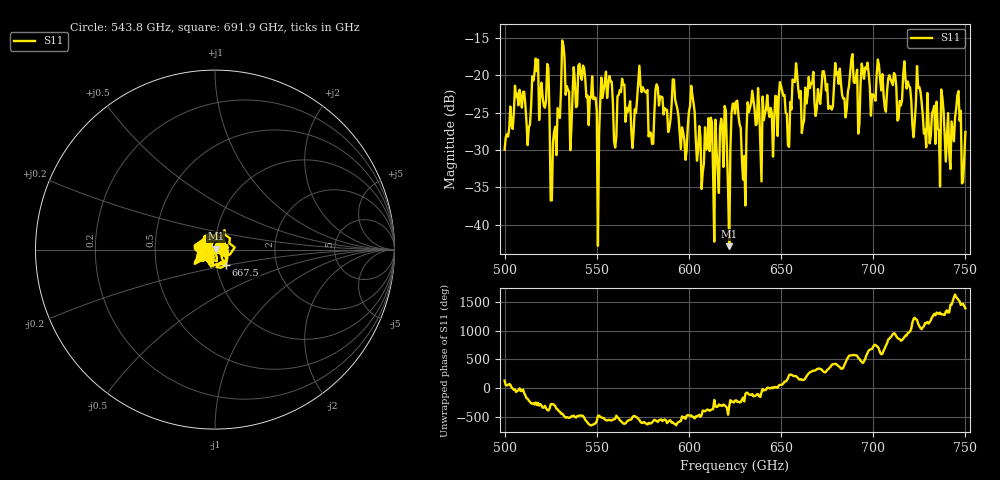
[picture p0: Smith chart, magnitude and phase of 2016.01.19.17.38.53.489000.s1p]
!Created with skrf (http://scikit-rf.org).
# GHz S RI R 50.0
!freq ReS11 ImS11
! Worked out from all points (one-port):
!   401 points, 500 GHz to 750 GHz, reference 50 ohm
!   lowest |S11| = -42.8 dB at 621.9 GHz (marker M1), VSWR 1.01, Z = 50.4 + j0.584 ohm
!   |S11| at or under -10 dB: start of sweep to end of sweep
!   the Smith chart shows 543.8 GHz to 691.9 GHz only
!   S11 on the Smith chart (normalised r, x): 543.8 GHz: 0.83, +0.02; 667.5 GHz: 1.12, -0.19; 691.9 GHz: 0.92, +0.01
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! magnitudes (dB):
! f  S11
! 500 GHz  -30.0
! 506.9 GHz  -22.5
! 513.1 GHz  -27.0
! 516.9 GHz  -17.8
! 523.1 GHz  -18.5
! 526.2 GHz  -28.9
! 531.2 GHz  -15.4
! 535.6 GHz  -30.0
! 543.8 GHz  -20.5
! 550.6 GHz  -42.8
! 553.8 GHz  -22.0
! 560 GHz  -29.7
! 562.5 GHz  -22.0
! 593.8 GHz  -24.5
! 598.1 GHz  -31.3
! 601.9 GHz  -22.7
! 615 GHz  -30.2
! 618.8 GHz  -32.3
! 621.9 GHz  -42.8
! 625 GHz  -25.1
! 630 GHz  -30.8
! 633.1 GHz  -24.4
! 656.2 GHz  -20.6
! 667.5 GHz  -19.6
! 687.5 GHz  -19.6
! 691.9 GHz  -27.8
! 718.8 GHz  -20.8
! 750 GHz  -27.6
